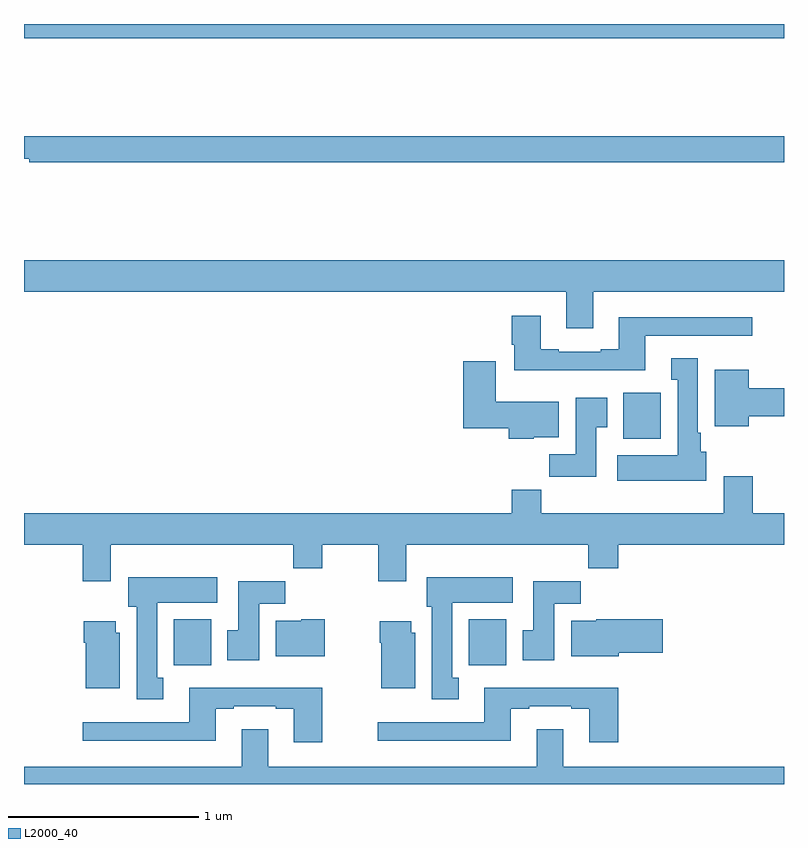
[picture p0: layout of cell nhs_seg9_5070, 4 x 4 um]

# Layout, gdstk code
import gdstk
lib = gdstk.Library(unit=1e-6, precision=1e-09)
def R(c, l, rs):  # rectangles x0, y0, x1, y1
    for r in rs: c.add(gdstk.rectangle(r[:2], r[2:], *l))
def P(c, l, *ps):  # polygons
    for p in ps: c.add(gdstk.Polygon(p, *l))
L2000_40 = (2000, 40)

nhs_seg9_5070 = lib.new_cell('nhs_seg9_5070')
R(nhs_seg9_5070, L2000_40, [(405.788,1189.124,405.985,1189.366), (407.342,1189.124,407.539,1189.366), (408.155,1190.318,408.352,1190.56), (405,1192.424,409,1192.5)])
P(nhs_seg9_5070, L2000_40, [(409,1191.908),(405,1191.908),(405,1191.791),(405.028,1191.791),(405.028,1191.772),(409,1191.772)],
  [(407.995,1191.092),(409,1191.092),(409,1191.256),(405,1191.256),(405,1191.092),(407.855,1191.092),(407.855,1190.898),(407.995,1190.898)],
  [(408.271,1190.859),(408.832,1190.859),(408.832,1190.956),(408.131,1190.956),(408.131,1190.788),(408.035,1190.788),(408.035,1190.775),(407.815,1190.775),(407.815,1190.788),(407.719,1190.788),(407.719,1190.965),(407.567,1190.965),(407.567,1190.812),(407.579,1190.812),(407.579,1190.678),(408.271,1190.678)],
  [(408.592,1190.25),(408.562,1190.25),(408.562,1190.35),(408.547,1190.35),(408.547,1190.74),(408.407,1190.74),(408.407,1190.627),(408.44,1190.627),(408.44,1190.23),(408.123,1190.23),(408.123,1190.096),(408.592,1190.096)],
  [(407.682,1190.324),(407.815,1190.324),(407.815,1190.512),(407.482,1190.512),(407.482,1190.725),(407.312,1190.725),(407.312,1190.372),(407.552,1190.372),(407.552,1190.318),(407.682,1190.318)],
  [(408.814,1190.435),(409,1190.435),(409,1190.582),(408.814,1190.582),(408.814,1190.68),(408.635,1190.68),(408.635,1190.384),(408.814,1190.384)],
  [(408.013,1190.377),(408.07,1190.377),(408.07,1190.533),(407.903,1190.533),(407.903,1190.236),(407.764,1190.236),(407.764,1190.118),(408.013,1190.118)],
  [(405.457,1189.76),(406.417,1189.76),(406.417,1189.636),(406.569,1189.636),(406.569,1189.76),(406.864,1189.76),(406.864,1189.566),(407.011,1189.566),(407.011,1189.76),(407.971,1189.76),(407.971,1189.636),(408.128,1189.636),(408.128,1189.76),(409,1189.76),(409,1189.924),(408.836,1189.924),(408.836,1190.119),(408.683,1190.119),(408.683,1189.924),(407.723,1189.924),(407.723,1190.048),(407.567,1190.048),(407.567,1189.924),(405,1189.924),(405,1189.76),(405.31,1189.76),(405.31,1189.566),(405.457,1189.566)],
  [(405.733,1189.058),(405.7,1189.058),(405.7,1189.454),(406.018,1189.454),(406.018,1189.588),(405.548,1189.588),(405.548,1189.434),(405.593,1189.434),(405.593,1188.945),(405.733,1188.945)],
  [(407.287,1189.058),(407.254,1189.058),(407.254,1189.454),(407.572,1189.454),(407.572,1189.588),(407.12,1189.588),(407.12,1189.434),(407.147,1189.434),(407.147,1188.945),(407.287,1188.945)],
  [(406.237,1189.448),(406.376,1189.448),(406.376,1189.567),(406.127,1189.567),(406.127,1189.308),(406.07,1189.308),(406.07,1189.152),(406.237,1189.152)],
  [(407.791,1189.448),(407.93,1189.448),(407.93,1189.567),(407.681,1189.567),(407.681,1189.308),(407.624,1189.308),(407.624,1189.152),(407.791,1189.152)],
  [(408.13,1189.19),(408.361,1189.19),(408.361,1189.366),(408.012,1189.366),(408.012,1189.36),(407.879,1189.36),(407.879,1189.172),(408.13,1189.172)],
  [(406.584,1189.366),(406.458,1189.366),(406.458,1189.36),(406.325,1189.36),(406.325,1189.172),(406.584,1189.172)],
  [(405.505,1189.296),(405.484,1189.296),(405.484,1189.357),(405.314,1189.357),(405.314,1189.244),(405.326,1189.244),(405.326,1189.004),(405.505,1189.004)],
  [(407.059,1189.296),(407.038,1189.296),(407.038,1189.357),(406.873,1189.357),(406.873,1189.244),(406.88,1189.244),(406.88,1189.004),(407.059,1189.004)],
  [(408.128,1189.006),(407.423,1189.006),(407.423,1188.825),(406.863,1188.825),(406.863,1188.728),(407.563,1188.728),(407.563,1188.897),(407.659,1188.897),(407.659,1188.909),(407.879,1188.909),(407.879,1188.897),(407.975,1188.897),(407.975,1188.72),(408.128,1188.72)],
  [(406.569,1189.006),(405.869,1189.006),(405.869,1188.825),(405.309,1188.825),(405.309,1188.728),(406.009,1188.728),(406.009,1188.897),(406.105,1188.897),(406.105,1188.909),(406.325,1188.909),(406.325,1188.897),(406.421,1188.897),(406.421,1188.72),(406.569,1188.72)],
  [(409,1188.592),(407.839,1188.592),(407.839,1188.787),(407.699,1188.787),(407.699,1188.592),(406.285,1188.592),(406.285,1188.787),(406.145,1188.787),(406.145,1188.592),(405,1188.592),(405,1188.5),(409,1188.5)])

lib.write_gds('nhs_seg9_5070.gds')
